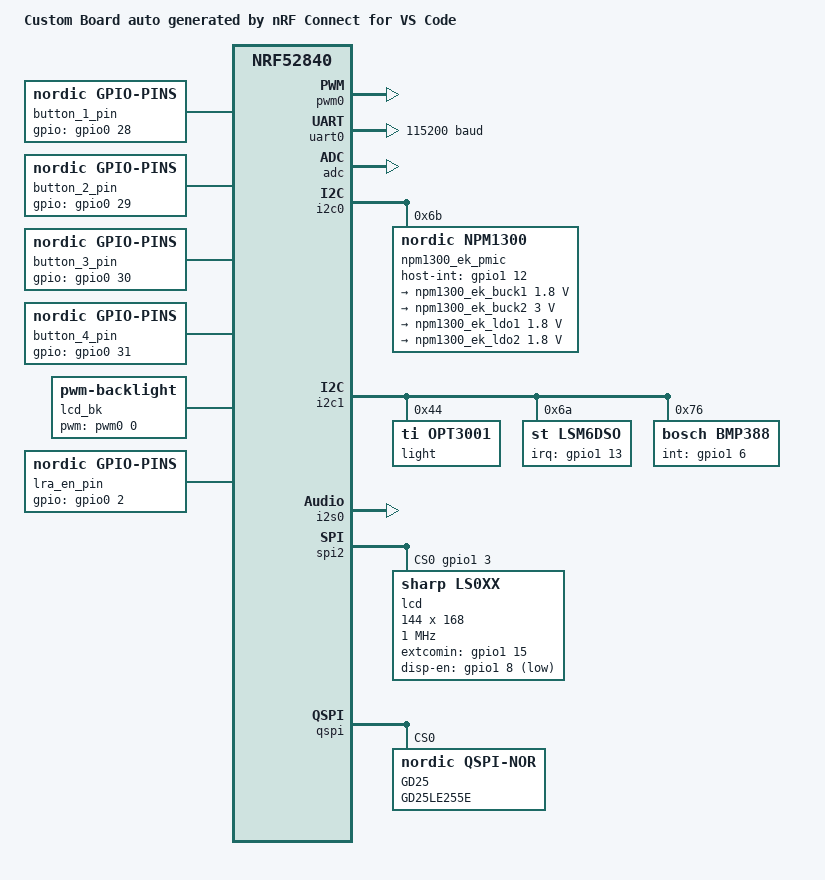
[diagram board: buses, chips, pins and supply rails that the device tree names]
/dts-v1/;
#include <nordic/nrf52840_qfaa.dtsi>
#include "nrf52840_watch-pinctrl.dtsi"
#include <dt-bindings/regulator/npm1300.h>
#include <zephyr/dt-bindings/input/input-event-codes.h>
#include <zephyr/dt-bindings/sensor/lsm6dso.h>

/ {
	model = "Custom Board auto generated by nRF Connect for VS Code";
	compatible = "nrf52840,nrf52840-watch";

	button_1_pin: button_1_pin {
		compatible = "nordic,gpio-pins";
		gpios = <&gpio0 28 GPIO_ACTIVE_HIGH>;
		status = "okay";
	};
	
	button_2_pin: button-2-pin {
		compatible = "nordic,gpio-pins";
		gpios = <&gpio0 29 GPIO_ACTIVE_HIGH>;
		status = "okay";
	};
	
	button_3_pin: button-3-pin {
		compatible = "nordic,gpio-pins";
		gpios = <&gpio0 30 GPIO_ACTIVE_HIGH>;
		status = "okay";
	};
	
	button_4_pin: button-4-pin {
		compatible = "nordic,gpio-pins";
		gpios = <&gpio0 31 GPIO_ACTIVE_HIGH>;
		status = "okay";
	};

	lcd_bk: lcd-bk {
        compatible = "pwm-backlight";
        pwms = <&pwm0 0 PWM_MSEC(20) PWM_POLARITY_NORMAL>;
		freq =  <256>;
		status = "okay";
    };

	lra_en_pin: lra-en-pin {
                compatible = "nordic,gpio-pins";
                gpios = <&gpio0 2 GPIO_ACTIVE_HIGH>;
                status = "okay";
	};
	chosen {
		zephyr,sram = &sram0;
		zephyr,flash = &flash0;
		zephyr,flash-rootfs = &slot0_partition;
		zephyr,console = &uart0;
		zephyr,shell-uart = &uart0;
		zephyr,display = &lcd;
	};
};

&flash0 {
	partitions {
		compatible = "fixed-partitions";
		#address-cells = <1>;
		#size-cells = <1>;
		
		boot_partition: partition@0 {
			label = "mcuboot";
			reg = <0x00000000 DT_SIZE_K(48)>;
		};
		
		slot0_partition: partition@c000 {
			label = "image-0";
			reg = <0x0000c000 DT_SIZE_K(472)>;
		};
		
		slot1_partition: partition@82000 {
			label = "image-1";
			reg = <0x00082000 DT_SIZE_K(472)>;
		};
		
		storage_partition: partition@f8000 {
			label = "storage";
			reg = <0x000f8000 DT_SIZE_K(32)>;
		};
	};
};

&gpio0 {
	status = "okay";
};

&gpio1 {
	status = "okay";
};

&gpiote {
	status = "okay";
};

&pwm0 {
	status = "okay";
	pinctrl-0 = <&pwm0_default>;
	pinctrl-1 = <&pwm0_sleep>;
	pinctrl-names = "default", "sleep";
};

&uart0 {
	compatible = "nordic,nrf-uarte";
	status = "okay";
	current-speed = <115200>;
	pinctrl-0 = <&uart0_default>;
	pinctrl-1 = <&uart0_sleep>;
	pinctrl-names = "default", "sleep";
};

&adc {
	status = "okay";
};

&i2c0 {
	compatible = "nordic,nrf-twi";
	status = "okay";
	pinctrl-0 = <&i2c0_default>;
	pinctrl-1 = <&i2c0_sleep>;
	pinctrl-names = "default", "sleep";
	
	npm1300_ek_pmic: pmic@6b {
		compatible = "nordic,npm1300";
		reg = <0x6b>;
        host-int-gpios = <&gpio1 12 0>;
        pmic-int-pin = <1>;
		
		npm1300_ek_gpio: gpio-controller {
			compatible = "nordic,npm1300-gpio";
			gpio-controller;
			#gpio-cells = <2>;
			ngpios = <5>;
		};
		
		npm1300_ek_regulators: regulators {
			compatible = "nordic,npm1300-regulator";
			
			/* limits are set to min/max allowed values */
			npm1300_ek_buck1: BUCK1 {
				regulator-min-microvolt = <1800000>;
				regulator-max-microvolt = <1800000>;
			};
			
			npm1300_ek_buck2: BUCK2 {
				regulator-min-microvolt = <3000000>;
				regulator-max-microvolt = <3000000>;
			};
			
			npm1300_ek_ldo1: LDO1 {
				regulator-min-microvolt = <1800000>;
				regulator-max-microvolt = <1800000>;
				regulator-init-microvolt = <1800000>;
				regulator-initial-mode = <NPM1300_LDSW_MODE_LDO>;
			};
			
			npm1300_ek_ldo2: LDO2 {
				regulator-min-microvolt = <1800000>;
				regulator-max-microvolt = <1800000>;
				regulator-init-microvolt = <1800000>;
				regulator-initial-mode = <NPM1300_LDSW_MODE_LDO>;
			};
		};
		
		npm1300_ek_charger: charger {
			compatible = "nordic,npm1300-charger";
			term-microvolt = <4150000>;
			term-warm-microvolt = <4000000>;
			current-microamp = <150000>;
			dischg-limit-microamp = <1000000>;
			vbus-limit-microamp = <500000>;
			thermistor-ohms = <10000>;
			thermistor-beta = <3380>;
			charging-enable;
		};
		
		npm1300_ek_buttons: buttons {
			compatible = "gpio-keys";
			pmic_button0: pmic_button_0 {
				gpios = < &npm1300_ek_gpio 0 GPIO_ACTIVE_HIGH>;
				label = "Pmic button switch 0";
				zephyr,code = <INPUT_KEY_0>;
			};
		};
		
		npm1300_ek_leds: leds {
			compatible = "nordic,npm1300-led";
			nordic,led0-mode = "error";
			nordic,led1-mode = "charging";
			nordic,led2-mode = "host";
		};
	};
};

&i2c1 {
	status = "okay";
	pinctrl-0 = <&i2c1_default>;
	pinctrl-1 = <&i2c1_sleep>;
	pinctrl-names = "default", "sleep";
	light: opt3001-light@44 {
		status = "okay";
		compatible = "ti,opt3001";
		reg = <0x44>;
	};
	
	lsm6dso: lsm6dso@6a {
		compatible = "st,lsm6dso";
		reg = <0x6a>;
		irq-gpios = <&gpio1 13 GPIO_ACTIVE_HIGH>;
		accel-pm = <LSM6DSO_DT_XL_ULP_MODE>;
  		gyro-pm = <LSM6DSO_DT_GY_NORMAL_MODE>;
		status = "okay";
	};
	
	bmp388: bmp388@76 {
		compatible = "bosch,bmp388";
		reg = <0x76>;
		int-gpios = <&gpio1 6 GPIO_ACTIVE_HIGH>;
		odr = "50";
		osr-press = <4>;
		osr-temp = <2>;
		status = "okay";
	};
};

&reg1 {
	regulator-initial-mode = <NRF5X_REG_MODE_LDO>;
};

i2s_rxtx: &i2s0 {
	status = "okay";
	pinctrl-0 = <&i2s0_default_alt>;
	pinctrl-names = "default";
	// clock-source = "PCLK32M";
};

&spi1 {
	status = "disabled";
};

&spi2 {
	status = "okay";
	pinctrl-0 = <&spi2_default>;
	pinctrl-1 = <&spi2_sleep>;
	pinctrl-names = "default", "sleep";
	cs-gpios = <&gpio1 3 GPIO_ACTIVE_HIGH>;
	lcd: ls0xx@0 {
		compatible = "sharp,ls0xx";
		reg = <0>;
		extcomin-gpios = <&gpio1 15 GPIO_ACTIVE_HIGH>;
		disp-en-gpios = <&gpio1 8 GPIO_ACTIVE_LOW>;
		extcomin-frequency = <120>;
		height = <168>;
		width = <144>;
		spi-max-frequency = <1000000>;
		status = "okay";
	};
};

&qspi {
	status = "okay";
	pinctrl-0 = <&qspi_default>;
	pinctrl-1 = <&qspi_sleep>;
	pinctrl-names = "default", "sleep";

	GD25: GD25LE255E@0 {
		compatible = "nordic,qspi-nor";
		reg = <0>;
		sck-frequency = <8000000>;
		size = <268435456>;
		has-dpd;
		t-enter-dpd = <3000>;
		t-exit-dpd = <20000>;
		sfdp-bfp = [e5 20 f3 ff  ff ff ff 0f  44 eb 08 6b  08 3b 42 bb
			    fe ff ff ff  ff ff 00 ff  ff ff 42 eb  0c 20 0f 52
			    10 d8 00 ff  d4 31 a5 fe  84 df 14 4f  ec 62 16 33
			    7a 75 7a 75  04 b3 d5 5c  19 06 14 00  08 50 00 01];
		jedec-id = [c8 60 19];
	};
};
